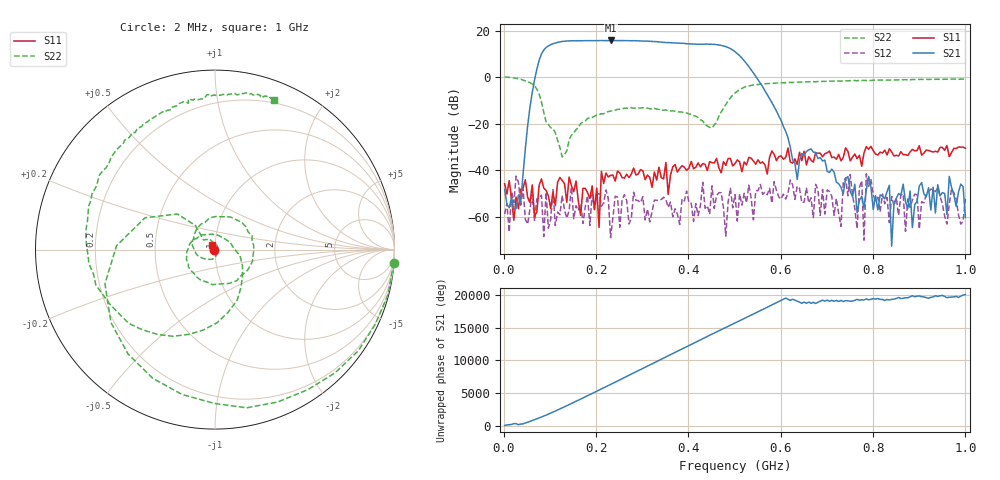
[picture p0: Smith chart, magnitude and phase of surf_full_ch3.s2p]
!Keysight Technologies N9923A: A.12.45
!Date: Tuesday, 28 October 2025 00:09:08
!Timezone: (UTC+08:00) Kuala Lumpur, Singapore
!Model: N9923A
!Serial: MY61181427
!GPS Latitude:
!GPS Longitude:
!GPS TimeStamp: 0001-01-01 00:00:00Z
!GPS Seconds Since Last Read: 0
!CHECKSUM:0318784143
!Correction: S11(ON U)S21(ON U)S12(ON U)S22(ON U)
!S2P File: Measurements:S11,S21,S12,S22:
# Hz S DB R 50
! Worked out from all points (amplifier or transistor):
!   201 points, 2 MHz to 1 GHz, reference 50 ohm
!   highest |S21| = 15.7 dB at 231.5 MHz (marker M1)
!   |S21| within 3 dB of that: 92.1 MHz to 485.4 MHz (393.3 MHz wide, 136 % of centre)
!   unconditionally stable (mu >= 1): start of sweep to end of sweep
!   at 166.7 MHz: K = 42.88, MAG = 15.7 dB, |S12| = -54.4 dB
!   at 501 MHz: K = 38.28, MAG = 11.9 dB, |S12| = -50.6 dB
!   at 1 GHz: K = 42953.09, MAG = -53.4 dB, |S12| = -52.4 dB
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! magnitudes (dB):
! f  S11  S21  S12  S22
! 2 MHz  -45.9  -48.3  -59.0  0.0
! 36.93 MHz  -48.3  -53.9  -55.1  -0.9
! 81.84 MHz  -43.8  9.9  -50.9  -10.8
! 86.83 MHz  -47.7  11.6  -68.6  -15.2
! 126.8 MHz  -44.5  15.3  -50.9  -34.4
! 171.7 MHz  -47.9  15.7  -63.0  -19.4
! 206.6 MHz  -64.7  15.7  -50.2  -16.1
! 211.6 MHz  -40.5  15.7  -55.6  -15.8
! 231.5 MHz  -42.3  15.7  -69.1  -14.6
! 336.3 MHz  -38.8  15.1  -52.9  -13.9
! 501 MHz  -37.2  10.9  -50.6  -6.9
! 635.7 MHz  -37.6  -44.1  -47.0  -2.2
! 670.7 MHz  -36.6  -32.3  -60.5  -2.0
! 750.5 MHz  -36.1  -49.2  -41.9  -1.5
! 765.5 MHz  -35.1  -58.4  -65.2  -1.6
! 775.5 MHz  -38.4  -51.3  -44.6  -1.5
! 780.4 MHz  -32.6  -56.4  -70.2  -1.4
! 785.4 MHz  -29.9  -48.5  -41.7  -1.5
! 835.3 MHz  -30.8  -46.6  -62.6  -1.3
! 840.3 MHz  -32.2  -72.8  -51.4  -1.3
! 865.3 MHz  -33.4  -46.1  -50.2  -1.2
! 1 GHz  -30.6  -60.4  -52.4  -0.9
